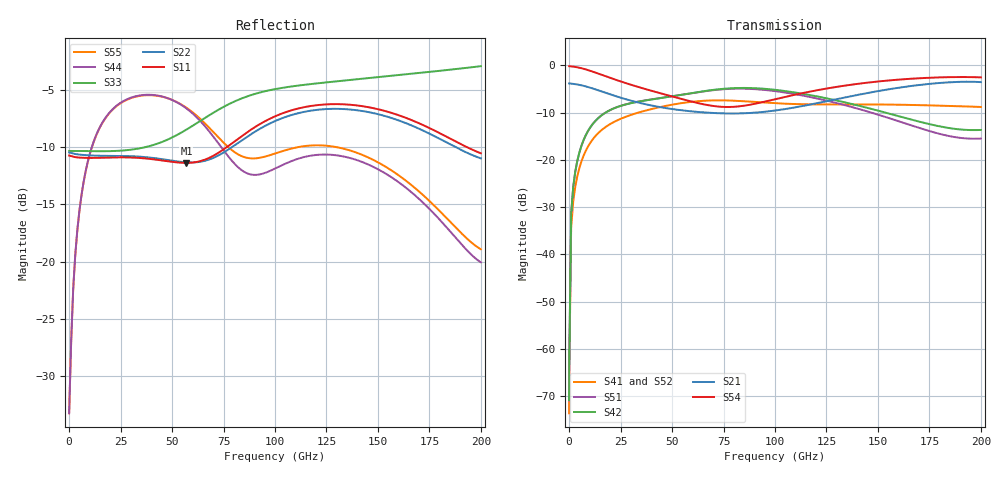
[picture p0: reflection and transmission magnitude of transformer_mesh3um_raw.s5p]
#  GHZ S DB R 50.0
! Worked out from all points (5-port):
!   202 points, 10 MHz to 200 GHz, reference 50 ohm
!   strongest paths, dB at 10 MHz, 49 GHz, 100 GHz, 150 GHz, 200 GHz:
!     S54: -0.2, -6.5, -7.2, -3.4, -2.6
!     S21: -3.8, -9.2, -9.6, -5.5, -3.6
!     S42: -70.8, -6.6, -5.2, -9.6, -13.7
!     S51: -70.8, -6.6, -5.5, -10.4, -15.5
!     S41: -73.6, -8.4, -8.0, -8.3, -8.8
!     S52: -73.6, -8.5, -8.1, -8.4, -9.1
!   lowest |S11| = -11.4 dB at 57 GHz (marker M1), VSWR 1.74, Z = 71.4 + j25.8 ohm
!   |S11| at or under -10 dB: start of sweep to 76.54 GHz; 193.2 GHz to end of sweep
